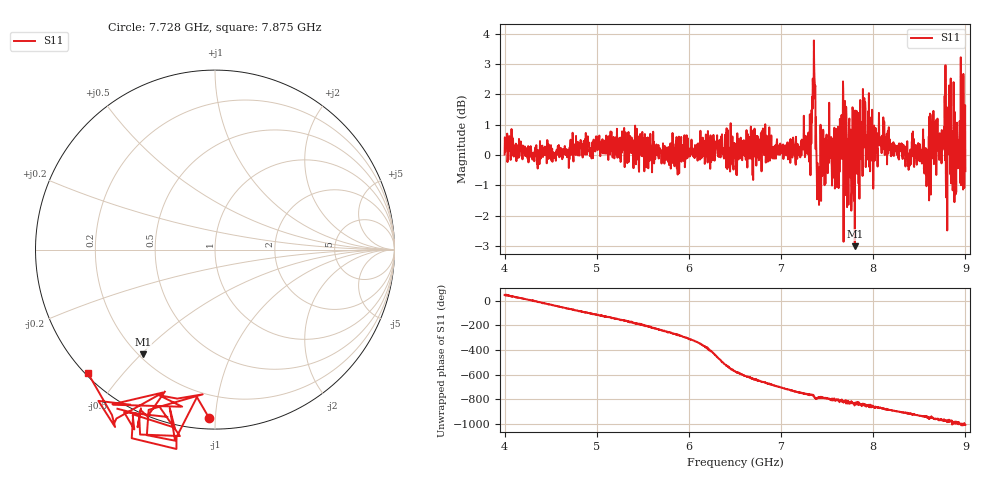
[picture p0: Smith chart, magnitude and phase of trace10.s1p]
! Created with skrf 1.8.0 (http://scikit-rf.org).
# Hz S RI R 50.0
!freq ReS11 ImS11
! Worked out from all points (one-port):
!   1601 points, 4 GHz to 9 GHz, reference 50 ohm
!   lowest |S11| = -3.0 dB at 7.8 GHz (marker M1), VSWR 5.83, Z = 10.9 - j25.3 ohm
!   |S11| at or under -10 dB: nowhere
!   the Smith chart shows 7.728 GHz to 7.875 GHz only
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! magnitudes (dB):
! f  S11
! 4 GHz  0.0
! 4.625 GHz  -0.1
! 5.25 GHz  -0.1
! 5.875 GHz  0.0
! 6.378 GHz  -0.1
! 6.5 GHz  0.2
! 6.806 GHz  0.2
! 7.125 GHz  0.2
! 7.294 GHz  0.1
! 7.347 GHz  2.2
! 7.362 GHz  2.6
! 7.4 GHz  -0.5
! 7.409 GHz  -0.6
! 7.516 GHz  0.2
! 7.609 GHz  -0.8
! 7.672 GHz  2.4
! 7.75 GHz  -0.7
! 7.784 GHz  0.7
! 7.8 GHz  -3.0
! 7.891 GHz  0.6
! 8.375 GHz  0.1
! 8.522 GHz  0.1
! 8.581 GHz  -0.5
! 8.656 GHz  0.7
! 8.819 GHz  0.0
! 8.875 GHz  0.9
! 8.972 GHz  0.6
! 9 GHz  -0.5
